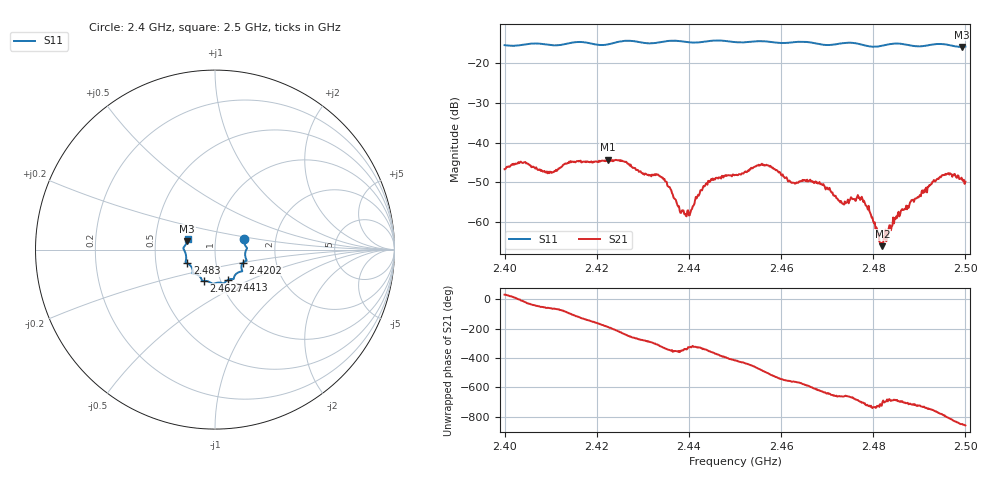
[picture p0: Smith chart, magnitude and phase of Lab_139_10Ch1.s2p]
# Hz S RI R 50
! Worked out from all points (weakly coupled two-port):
!   601 points, 2.4 GHz to 2.5 GHz, reference 50 ohm
!   highest |S21| = -44.28 dB at 2.4223 GHz (marker M1); lowest = -66.1 dB at 2.482 GHz (marker M2)
!   lowest |S11| = -15.8 dB at 2.4992 GHz (marker M3), VSWR 1.39, Z = 36.4 + j3.54 ohm
!   |S11| at or under -10 dB: start of sweep to end of sweep
!   S12 and S22 are empty: the file has one direction only
!   S11 on the Smith chart (normalised r, x): 2.4 GHz: 1.37, +0.16; 2.4202 GHz: 1.35, -0.20; 2.4413 GHz: 1.09, -0.38; 2.4627 GHz: 0.83, -0.30; 2.483 GHz: 0.72, -0.11; 2.5 GHz: 0.73, +0.09
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2.4e9  0.1606 0.0571  0.00391 0.00248  0 0  0 0
2.404e9  0.1714 0.0182  0.00544 -0.00115  0 0  0 0
2.410167e9  0.1698 -0.0119  0.00208 -0.0036  0 0  0 0
2.416667e9  0.1761 -0.0615  -0.00342 -0.00449  0 0  0 0
2.420167e9  0.1561 -0.0728  -0.00553 -0.00169  0 0  0 0
2.422333e9  0.1472 -0.0923  -0.00606 0.000781  0 0  0 0
2.433333e9  0.1082 -0.1485  0.00262 0.00295  0 0  0 0
2.4385e9  0.0971 -0.1636  0.00137 0.000314  0 0  0 0
2.441333e9  0.0743 -0.1679  0.00152 0.00111  0 0  0 0
2.444667e9  0.0536 -0.1852  0.00329 0.000204  0 0  0 0
2.45e9  0.0292 -0.1839  0.00219 -0.00326  0 0  0 0
2.456333e9  -0.0133 -0.1901  -0.0034 -0.00385  0 0  0 0
2.462667e9  -0.0619 -0.1748  -0.00295 0.00105  0 0  0 0
2.466667e9  -0.0742 -0.1675  -0.00163 0.00279  0 0  0 0
2.473167e9  -0.1194 -0.1344  0.000907 0.00149  0 0  0 0
2.477167e9  -0.1242 -0.1232  0.00175 0.000723  0 0  0 0
2.482e9  -0.1469 -0.0809  0.000469 0.00016  0 0  0 0
2.483e9  -0.1547 -0.0768  0.000568 0.000442  0 0  0 0
2.483333e9  -0.1569 -0.0757  0.00065 0.000497  0 0  0 0
2.493333e9  -0.175 0.00246  0.00247 -0.00213  0 0  0 0
2.499167e9  -0.1548 0.0472  -0.00236 -0.00275  0 0  0 0
2.5e9  -0.1526 0.0585  -0.00246 -0.00209  0 0  0 0
